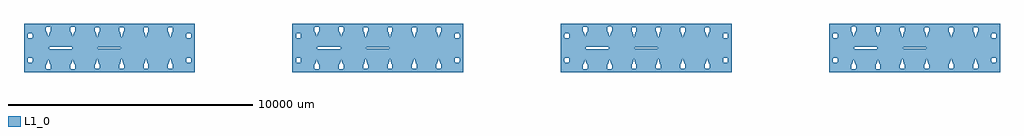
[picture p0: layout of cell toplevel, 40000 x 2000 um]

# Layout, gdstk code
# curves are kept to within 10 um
import gdstk
lib = gdstk.Library(unit=1e-6, precision=1e-09)
def P(c, l, *ps):  # polygons
    for p in ps: c.add(gdstk.Polygon(p, *l))
L1_0 = (1, 0)

toplevel = lib.new_cell('toplevel')
P(toplevel, L1_0, [(11000,4000),(10750,4000),(10750,4400),(10825.307,4403.045),(10850,4440),(10843.259,4582.223),(10817.804,4599.231),(10750,4600),(10750,5400),(10825.307,5403.045),(10850,5440),(10843.259,5582.223),(10817.804,5599.231),(10750,5600),(10750,6000),(11000,6000)],
  [(10750,4000),(9500,4000),(9500,4995),(9965.004,4995),(9995,4590),(9940,4370),(9900.769,4337.804),(9900.769,4182.196),(9932.196,4150.769),(10060,4150),(10088.284,4161.716),(10100,4190),(10099.231,4337.804),(10060,4370),(10005,4590),(9975,4995.189),(10005,5410),(10060,5630),(10099.231,5662.196),(10098.278,5821.611),(10067.804,5849.231),(9940,5850),(9900.769,5817.804),(9900.769,5662.196),(9940,5630),(9995,5410),(9965.004,5005),(9500,5005),(9500,6000),(10750,6000),(10750,5600),(10674.693,5596.955),(10650,5560),(10656.741,5417.777),(10682.196,5400.769),(10750,5400),(10750,4600),(10674.693,4596.955),(10650,4560),(10656.741,4417.777),(10682.196,4400.769),(10750,4400)],
  [(9500,4000),(7500,4000),(7500,4975),(7965.004,4975),(7995,4570),(7940,4350),(7900.769,4317.804),(7900.769,4182.196),(7932.196,4150.769),(8060,4150),(8088.284,4161.716),(8100,4190),(8099.231,4317.804),(8060,4350),(8005,4570),(7975,4975.189),(8005,5430),(8060,5650),(8099.231,5682.196),(8098.278,5821.611),(8067.804,5849.231),(7940,5850),(7900.769,5817.804),(7900.769,5682.196),(7940,5650),(7995,5430),(7965.004,5025),(7500,5025),(7500,6000),(9500,6000),(9500,5005),(9034.996,5005),(9005,5410),(9060,5630),(9099.231,5662.196),(9099.231,5817.804),(9067.804,5849.231),(8940,5850),(8911.716,5838.284),(8900,5810),(8900.769,5662.196),(8940,5630),(8995,5410),(9025,5004.811),(8995,4590),(8940,4370),(8900.769,4337.804),(8901.722,4178.389),(8932.196,4150.769),(9060,4150),(9099.231,4182.196),(9099.231,4337.804),(9060,4370),(9005,4590),(9034.996,4995),(9500,4995)],
  [(7500,4000),(5500,4000),(5500,4950),(5965.004,4950),(5995,4545),(5941.375,4350),(5900.769,4317.804),(5900.769,4157.196),(5932.196,4125.769),(6060,4125),(6088.284,4136.716),(6100,4165),(6099.231,4317.804),(6058.625,4350),(6005,4545),(5975,4950.189),(6005,5455),(6058.625,5650),(6099.231,5682.196),(6098.278,5846.611),(6067.804,5874.231),(5940,5875),(5900.769,5842.804),(5900.769,5682.196),(5941.375,5650),(5995,5455),(5965.004,5050),(5500,5050),(5500,6000),(7500,6000),(7500,5025),(7034.996,5025),(7005,5430),(7060,5650),(7099.231,5682.196),(7099.231,5817.804),(7067.804,5849.231),(6940,5850),(6911.716,5838.284),(6900,5810),(6900.769,5682.196),(6940,5650),(6995,5430),(7025,5024.811),(6995,4570),(6940,4350),(6900.769,4317.804),(6901.722,4178.389),(6932.196,4150.769),(7060,4150),(7099.231,4182.196),(7099.231,4317.804),(7060,4350),(7005,4570),(7034.996,4975),(7500,4975)],
  [(5500,4000),(4250,4000),(4250,4400),(4325.307,4403.045),(4350,4440),(4343.259,4582.223),(4317.804,4599.231),(4250,4600),(4250,5400),(4325.307,5403.045),(4350,5440),(4343.259,5582.223),(4317.804,5599.231),(4250,5600),(4250,6000),(5500,6000),(5500,5050),(5034.996,5050),(5005,5455),(5058.625,5650),(5099.231,5682.196),(5099.231,5842.804),(5067.804,5874.231),(4940,5875),(4911.716,5863.284),(4900,5835),(4900.769,5682.196),(4941.375,5650),(4995,5455),(5025,5049.811),(4995,4545),(4941.375,4350),(4900.769,4317.804),(4901.722,4153.389),(4932.196,4125.769),(5060,4125),(5099.231,4157.196),(5099.231,4317.804),(5058.625,4350),(5005,4545),(5034.996,4950),(5500,4950)],
  [(4250,4000),(4000,4000),(4000,6000),(4250,6000),(4250,5600),(4174.693,5596.955),(4150,5560),(4156.741,5417.777),(4182.196,5400.769),(4250,5400),(4250,4600),(4174.693,4596.955),(4150,4560),(4156.741,4417.777),(4182.196,4400.769),(4250,4400)],
  [(22000,4000),(21750,4000),(21750,4400),(21825.307,4403.045),(21850,4440),(21843.259,4582.223),(21817.804,4599.231),(21750,4600),(21750,5400),(21825.307,5403.045),(21850,5440),(21843.259,5582.223),(21817.804,5599.231),(21750,5600),(21750,6000),(22000,6000)],
  [(21750,4000),(20500,4000),(20500,4995),(20965.004,4995),(20995,4590),(20940,4370),(20900.769,4337.804),(20900.769,4182.196),(20932.196,4150.769),(21060,4150),(21088.284,4161.716),(21100,4190),(21099.231,4337.804),(21060,4370),(21005,4590),(20975,4995.189),(21005,5410),(21060,5630),(21099.231,5662.196),(21098.278,5821.611),(21067.804,5849.231),(20940,5850),(20900.769,5817.804),(20900.769,5662.196),(20940,5630),(20995,5410),(20965.004,5005),(20500,5005),(20500,6000),(21750,6000),(21750,5600),(21674.693,5596.955),(21650,5560),(21656.741,5417.777),(21682.196,5400.769),(21750,5400),(21750,4600),(21674.693,4596.955),(21650,4560),(21656.741,4417.777),(21682.196,4400.769),(21750,4400)],
  [(20500,4000),(18500,4000),(18500,4975),(18965.004,4975),(18995,4570),(18940,4350),(18900.769,4317.804),(18900.769,4182.196),(18932.196,4150.769),(19060,4150),(19088.284,4161.716),(19100,4190),(19099.231,4317.804),(19060,4350),(19005,4570),(18975,4975.189),(19005,5430),(19060,5650),(19099.231,5682.196),(19098.278,5821.611),(19067.804,5849.231),(18940,5850),(18900.769,5817.804),(18900.769,5682.196),(18940,5650),(18995,5430),(18965.004,5025),(18500,5025),(18500,6000),(20500,6000),(20500,5005),(20034.996,5005),(20005,5410),(20060,5630),(20099.231,5662.196),(20099.231,5817.804),(20067.804,5849.231),(19940,5850),(19911.716,5838.284),(19900,5810),(19900.769,5662.196),(19940,5630),(19995,5410),(20025,5004.811),(19995,4590),(19940,4370),(19900.769,4337.804),(19901.722,4178.389),(19932.196,4150.769),(20060,4150),(20099.231,4182.196),(20099.231,4337.804),(20060,4370),(20005,4590),(20034.996,4995),(20500,4995)],
  [(18500,4000),(16500,4000),(16500,4950),(16965.004,4950),(16995,4545),(16941.375,4350),(16900.769,4317.804),(16900.769,4157.196),(16932.196,4125.769),(17060,4125),(17088.284,4136.716),(17100,4165),(17099.231,4317.804),(17058.625,4350),(17005,4545),(16975,4950.189),(17005,5455),(17058.625,5650),(17099.231,5682.196),(17098.278,5846.611),(17067.804,5874.231),(16940,5875),(16900.769,5842.804),(16900.769,5682.196),(16941.375,5650),(16995,5455),(16965.004,5050),(16500,5050),(16500,6000),(18500,6000),(18500,5025),(18034.996,5025),(18005,5430),(18060,5650),(18099.231,5682.196),(18099.231,5817.804),(18067.804,5849.231),(17940,5850),(17911.716,5838.284),(17900,5810),(17900.769,5682.196),(17940,5650),(17995,5430),(18025,5024.811),(17995,4570),(17940,4350),(17900.769,4317.804),(17901.722,4178.389),(17932.196,4150.769),(18060,4150),(18099.231,4182.196),(18099.231,4317.804),(18060,4350),(18005,4570),(18034.996,4975),(18500,4975)],
  [(16500,4000),(15250,4000),(15250,4400),(15325.307,4403.045),(15350,4440),(15343.259,4582.223),(15317.804,4599.231),(15250,4600),(15250,5400),(15325.307,5403.045),(15350,5440),(15343.259,5582.223),(15317.804,5599.231),(15250,5600),(15250,6000),(16500,6000),(16500,5050),(16034.996,5050),(16005,5455),(16058.625,5650),(16099.231,5682.196),(16099.231,5842.804),(16067.804,5874.231),(15940,5875),(15911.716,5863.284),(15900,5835),(15900.769,5682.196),(15941.375,5650),(15995,5455),(16025,5049.811),(15995,4545),(15941.375,4350),(15900.769,4317.804),(15901.722,4153.389),(15932.196,4125.769),(16060,4125),(16099.231,4157.196),(16099.231,4317.804),(16058.625,4350),(16005,4545),(16034.996,4950),(16500,4950)],
  [(15250,4000),(15000,4000),(15000,6000),(15250,6000),(15250,5600),(15174.693,5596.955),(15150,5560),(15156.741,5417.777),(15182.196,5400.769),(15250,5400),(15250,4600),(15174.693,4596.955),(15150,4560),(15156.741,4417.777),(15182.196,4400.769),(15250,4400)],
  [(33000,4000),(32750,4000),(32750,4400),(32825.307,4403.045),(32850,4440),(32843.259,4582.223),(32817.804,4599.231),(32750,4600),(32750,5400),(32825.307,5403.045),(32850,5440),(32843.259,5582.223),(32817.804,5599.231),(32750,5600),(32750,6000),(33000,6000)],
  [(32750,4000),(31500,4000),(31500,4995),(31965.004,4995),(31995,4590),(31940,4370),(31900.769,4337.804),(31900.769,4182.196),(31932.196,4150.769),(32060,4150),(32088.284,4161.716),(32100,4190),(32099.231,4337.804),(32060,4370),(32005,4590),(31975,4995.189),(32005,5410),(32060,5630),(32099.231,5662.196),(32098.278,5821.611),(32067.804,5849.231),(31940,5850),(31900.769,5817.804),(31900.769,5662.196),(31940,5630),(31995,5410),(31965.004,5005),(31500,5005),(31500,6000),(32750,6000),(32750,5600),(32674.693,5596.955),(32650,5560),(32656.741,5417.777),(32682.196,5400.769),(32750,5400),(32750,4600),(32674.693,4596.955),(32650,4560),(32656.741,4417.777),(32682.196,4400.769),(32750,4400)],
  [(31500,4000),(29500,4000),(29500,4975),(29965.004,4975),(29995,4570),(29940,4350),(29900.769,4317.804),(29900.769,4182.196),(29932.196,4150.769),(30060,4150),(30088.284,4161.716),(30100,4190),(30099.231,4317.804),(30060,4350),(30005,4570),(29975,4975.189),(30005,5430),(30060,5650),(30099.231,5682.196),(30098.278,5821.611),(30067.804,5849.231),(29940,5850),(29900.769,5817.804),(29900.769,5682.196),(29940,5650),(29995,5430),(29965.004,5025),(29500,5025),(29500,6000),(31500,6000),(31500,5005),(31034.996,5005),(31005,5410),(31060,5630),(31099.231,5662.196),(31099.231,5817.804),(31067.804,5849.231),(30940,5850),(30911.716,5838.284),(30900,5810),(30900.769,5662.196),(30940,5630),(30995,5410),(31025,5004.811),(30995,4590),(30940,4370),(30900.769,4337.804),(30901.722,4178.389),(30932.196,4150.769),(31060,4150),(31099.231,4182.196),(31099.231,4337.804),(31060,4370),(31005,4590),(31034.996,4995),(31500,4995)],
  [(29500,4000),(27500,4000),(27500,4950),(27965.004,4950),(27995,4545),(27941.375,4350),(27900.769,4317.804),(27900.769,4157.196),(27932.196,4125.769),(28060,4125),(28088.284,4136.716),(28100,4165),(28099.231,4317.804),(28058.625,4350),(28005,4545),(27975,4950.189),(28005,5455),(28058.625,5650),(28099.231,5682.196),(28098.278,5846.611),(28067.804,5874.231),(27940,5875),(27900.769,5842.804),(27900.769,5682.196),(27941.375,5650),(27995,5455),(27965.004,5050),(27500,5050),(27500,6000),(29500,6000),(29500,5025),(29034.996,5025),(29005,5430),(29060,5650),(29099.231,5682.196),(29099.231,5817.804),(29067.804,5849.231),(28940,5850),(28911.716,5838.284),(28900,5810),(28900.769,5682.196),(28940,5650),(28995,5430),(29025,5024.811),(28995,4570),(28940,4350),(28900.769,4317.804),(28901.722,4178.389),(28932.196,4150.769),(29060,4150),(29099.231,4182.196),(29099.231,4317.804),(29060,4350),(29005,4570),(29034.996,4975),(29500,4975)],
  [(27500,4000),(26250,4000),(26250,4400),(26325.307,4403.045),(26350,4440),(26343.259,4582.223),(26317.804,4599.231),(26250,4600),(26250,5400),(26325.307,5403.045),(26350,5440),(26343.259,5582.223),(26317.804,5599.231),(26250,5600),(26250,6000),(27500,6000),(27500,5050),(27034.996,5050),(27005,5455),(27058.625,5650),(27099.231,5682.196),(27099.231,5842.804),(27067.804,5874.231),(26940,5875),(26911.716,5863.284),(26900,5835),(26900.769,5682.196),(26941.375,5650),(26995,5455),(27025,5049.811),(26995,4545),(26941.375,4350),(26900.769,4317.804),(26901.722,4153.389),(26932.196,4125.769),(27060,4125),(27099.231,4157.196),(27099.231,4317.804),(27058.625,4350),(27005,4545),(27034.996,4950),(27500,4950)],
  [(26250,4000),(26000,4000),(26000,6000),(26250,6000),(26250,5600),(26174.693,5596.955),(26150,5560),(26156.741,5417.777),(26182.196,5400.769),(26250,5400),(26250,4600),(26174.693,4596.955),(26150,4560),(26156.741,4417.777),(26182.196,4400.769),(26250,4400)],
  [(44000,4000),(43750,4000),(43750,4400),(43825.307,4403.045),(43850,4440),(43843.259,4582.223),(43817.804,4599.231),(43750,4600),(43750,5400),(43825.307,5403.045),(43850,5440),(43843.259,5582.223),(43817.804,5599.231),(43750,5600),(43750,6000),(44000,6000)],
  [(43750,4000),(42500,4000),(42500,4995),(42965.004,4995),(42995,4590),(42940,4370),(42900.769,4337.804),(42900.769,4182.196),(42932.196,4150.769),(43060,4150),(43088.284,4161.716),(43100,4190),(43099.231,4337.804),(43060,4370),(43005,4590),(42975,4995.189),(43005,5410),(43060,5630),(43099.231,5662.196),(43098.278,5821.611),(43067.804,5849.231),(42940,5850),(42900.769,5817.804),(42900.769,5662.196),(42940,5630),(42995,5410),(42965.004,5005),(42500,5005),(42500,6000),(43750,6000),(43750,5600),(43674.693,5596.955),(43650,5560),(43656.741,5417.777),(43682.196,5400.769),(43750,5400),(43750,4600),(43674.693,4596.955),(43650,4560),(43656.741,4417.777),(43682.196,4400.769),(43750,4400)],
  [(42500,4000),(40500,4000),(40500,4975),(40965.004,4975),(40995,4570),(40940,4350),(40900.769,4317.804),(40900.769,4182.196),(40932.196,4150.769),(41060,4150),(41088.284,4161.716),(41100,4190),(41099.231,4317.804),(41060,4350),(41005,4570),(40975,4975.189),(41005,5430),(41060,5650),(41099.231,5682.196),(41098.278,5821.611),(41067.804,5849.231),(40940,5850),(40900.769,5817.804),(40900.769,5682.196),(40940,5650),(40995,5430),(40965.004,5025),(40500,5025),(40500,6000),(42500,6000),(42500,5005),(42034.996,5005),(42005,5410),(42060,5630),(42099.231,5662.196),(42099.231,5817.804),(42067.804,5849.231),(41940,5850),(41911.716,5838.284),(41900,5810),(41900.769,5662.196),(41940,5630),(41995,5410),(42025,5004.811),(41995,4590),(41940,4370),(41900.769,4337.804),(41901.722,4178.389),(41932.196,4150.769),(42060,4150),(42099.231,4182.196),(42099.231,4337.804),(42060,4370),(42005,4590),(42034.996,4995),(42500,4995)],
  [(40500,4000),(38500,4000),(38500,4950),(38965.004,4950),(38995,4545),(38941.375,4350),(38900.769,4317.804),(38900.769,4157.196),(38932.196,4125.769),(39060,4125),(39088.284,4136.716),(39100,4165),(39099.231,4317.804),(39058.625,4350),(39005,4545),(38975,4950.189),(39005,5455),(39058.625,5650),(39099.231,5682.196),(39098.278,5846.611),(39067.804,5874.231),(38940,5875),(38900.769,5842.804),(38900.769,5682.196),(38941.375,5650),(38995,5455),(38965.004,5050),(38500,5050),(38500,6000),(40500,6000),(40500,5025),(40034.996,5025),(40005,5430),(40060,5650),(40099.231,5682.196),(40099.231,5817.804),(40067.804,5849.231),(39940,5850),(39911.716,5838.284),(39900,5810),(39900.769,5682.196),(39940,5650),(39995,5430),(40025,5024.811),(39995,4570),(39940,4350),(39900.769,4317.804),(39901.722,4178.389),(39932.196,4150.769),(40060,4150),(40099.231,4182.196),(40099.231,4317.804),(40060,4350),(40005,4570),(40034.996,4975),(40500,4975)],
  [(38500,4000),(37250,4000),(37250,4400),(37325.307,4403.045),(37350,4440),(37343.259,4582.223),(37317.804,4599.231),(37250,4600),(37250,5400),(37325.307,5403.045),(37350,5440),(37343.259,5582.223),(37317.804,5599.231),(37250,5600),(37250,6000),(38500,6000),(38500,5050),(38034.996,5050),(38005,5455),(38058.625,5650),(38099.231,5682.196),(38099.231,5842.804),(38067.804,5874.231),(37940,5875),(37911.716,5863.284),(37900,5835),(37900.769,5682.196),(37941.375,5650),(37995,5455),(38025,5049.811),(37995,4545),(37941.375,4350),(37900.769,4317.804),(37901.722,4153.389),(37932.196,4125.769),(38060,4125),(38099.231,4157.196),(38099.231,4317.804),(38058.625,4350),(38005,4545),(38034.996,4950),(38500,4950)],
  [(37250,4000),(37000,4000),(37000,6000),(37250,6000),(37250,5600),(37174.693,5596.955),(37150,5560),(37156.741,5417.777),(37182.196,5400.769),(37250,5400),(37250,4600),(37174.693,4596.955),(37150,4560),(37156.741,4417.777),(37182.196,4400.769),(37250,4400)])

lib.write_gds('toplevel.gds')
